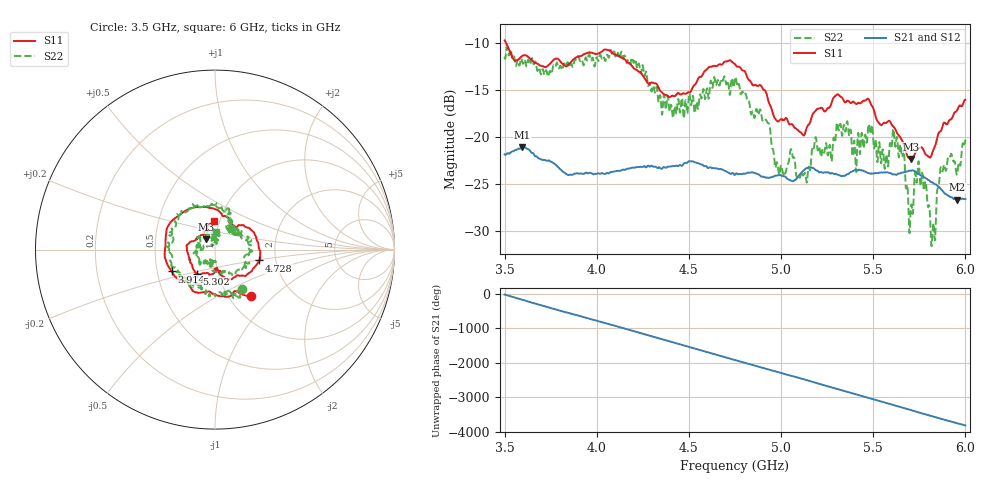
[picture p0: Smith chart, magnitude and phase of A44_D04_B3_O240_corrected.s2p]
! Created with skrf 1.9.0 (http://scikit-rf.org).
# Hz S RI R 50.0
!freq ReS11 ImS11 ReS21 ImS21 ReS12 ImS12 ReS22 ImS22
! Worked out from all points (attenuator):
!   1601 points, 3.5 GHz to 6 GHz, reference 50 ohm
!   highest |S21| = -21.10 dB at 3.595 GHz (marker M1); lowest = -26.7 dB at 5.956 GHz (marker M2)
!   lowest |S11| = -22.3 dB at 5.706 GHz (marker M3), VSWR 1.17, Z = 44.9 + j5.19 ohm
!   |S11| at or under -10 dB: 3.509 GHz to end of sweep
!   |S22| runs from -31.7 to -10.4 dB; largest |S21 - S12| = 0.001
!   S11 on the Smith chart (normalised r, x): 3.5 GHz: 1.26, -0.73; 3.914 GHz: 0.60, -0.16; 4.728 GHz: 1.64, -0.21; 5.302 GHz: 0.79, -0.22; 6 GHz: 0.94, +0.30
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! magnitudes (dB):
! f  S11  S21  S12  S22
! 3.5 GHz  -9.7  -21.9  -21.8  -11.4
! 3.595 GHz  -11.4  -21.1  -21.1  -11.9
! 3.914 GHz  -11.4  -23.9  -23.8  -11.8
! 3.917 GHz  -11.3  -23.9  -23.9  -11.7
! 4.142 GHz  -11.6  -23.5  -23.5  -11.5
! 4.334 GHz  -14.7  -23.3  -23.2  -16.2
! 4.422 GHz  -15.6  -23.1  -23.1  -16.8
! 4.728 GHz  -11.9  -23.9  -23.8  -14.4
! 4.75 GHz  -12.2  -24.0  -23.9  -13.7
! 4.928 GHz  -15.9  -24.3  -24.3  -18.5
! 4.981 GHz  -18.3  -24.1  -24.1  -23.0
! 5.131 GHz  -19.5  -23.4  -23.4  -24.0
! 5.167 GHz  -17.8  -23.3  -23.2  -21.4
! 5.302 GHz  -15.5  -24.0  -23.9  -18.7
! 5.584 GHz  -18.3  -23.8  -23.8  -22.2
! 5.658 GHz  -20.4  -23.8  -23.7  -22.1
! 5.706 GHz  -22.3  -23.6  -23.5  -27.2
! 5.755 GHz  -21.1  -24.1  -24.0  -25.0
! 5.825 GHz  -21.4  -24.9  -24.8  -29.3
! 5.873 GHz  -19.0  -25.7  -25.6  -23.6
! 5.956 GHz  -17.1  -26.7  -26.6  -23.8
! 6 GHz  -16.0  -26.6  -26.5  -20.3
